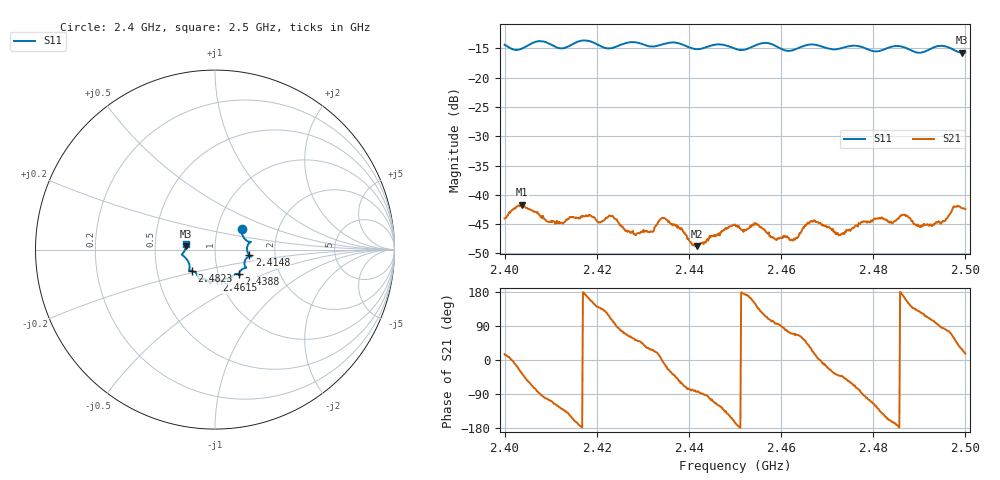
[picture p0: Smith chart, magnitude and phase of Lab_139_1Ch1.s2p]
# Hz S RI R 50
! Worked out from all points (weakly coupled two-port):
!   601 points, 2.4 GHz to 2.5 GHz, reference 50 ohm
!   highest |S21| = -41.70 dB at 2.4038 GHz (marker M1); lowest = -48.8 dB at 2.4417 GHz (marker M2)
!   lowest |S11| = -15.7 dB at 2.4993 GHz (marker M3), VSWR 1.39, Z = 36 + j1.31 ohm
!   |S11| at or under -10 dB: start of sweep to end of sweep
!   S12 and S22 are empty: the file has one direction only
!   S11 on the Smith chart (normalised r, x): 2.4 GHz: 1.31, +0.32; 2.4148 GHz: 1.47, -0.09; 2.4388 GHz: 1.25, -0.36; 2.4615 GHz: 0.97, -0.34; 2.4823 GHz: 0.75, -0.18; 2.5 GHz: 0.72, +0.04
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2.4e9  0.1513 0.1167  0.00606 0.00167  0 0  0 0
2.403833e9  0.1684 0.057  0.00657 -0.00494  0 0  0 0
2.4095e9  0.1929 0.0387  -0.0015 -0.00568  0 0  0 0
2.414833e9  0.1911 -0.031  -0.00587 -0.00276  0 0  0 0
2.416667e9  0.2033 -0.0394  -0.00657 -0.000439  0 0  0 0
2.423167e9  0.1645 -0.0698  -0.00191 0.00625  0 0  0 0
2.4285e9  0.1727 -0.1011  0.00272 0.00361  0 0  0 0
2.433333e9  0.1359 -0.13  0.00569 0.00155  0 0  0 0
2.434667e9  0.1343 -0.1407  0.00624 -0.00113  0 0  0 0
2.438833e9  0.1319 -0.1372  0.00187 -0.0044  0 0  0 0
2.441667e9  0.1047 -0.1406  0.000423 -0.00362  0 0  0 0
2.45e9  0.0724 -0.1614  -0.00539 -0.00143  0 0  0 0
2.456667e9  0.0438 -0.1933  -0.002 0.00443  0 0  0 0
2.4615e9  0.0112 -0.1689  0.00112 0.00416  0 0  0 0
2.466667e9  -0.0269 -0.1903  0.00536 0.00259  0 0  0 0
2.472667e9  -0.0669 -0.1637  0.00341 -0.00303  0 0  0 0
2.482333e9  -0.128 -0.1181  -0.00504 -0.00362  0 0  0 0
2.483333e9  -0.1375 -0.1169  -0.00549 -0.00222  0 0  0 0
2.486667e9  -0.1439 -0.1113  -0.00662 0.00147  0 0  0 0
2.492667e9  -0.1742 -0.0367  -0.00146 0.00519  0 0  0 0
2.499333e9  -0.1623 0.0177  0.0068 0.00357  0 0  0 0
2.5e9  -0.1617 0.0301  0.00725 0.00218  0 0  0 0
